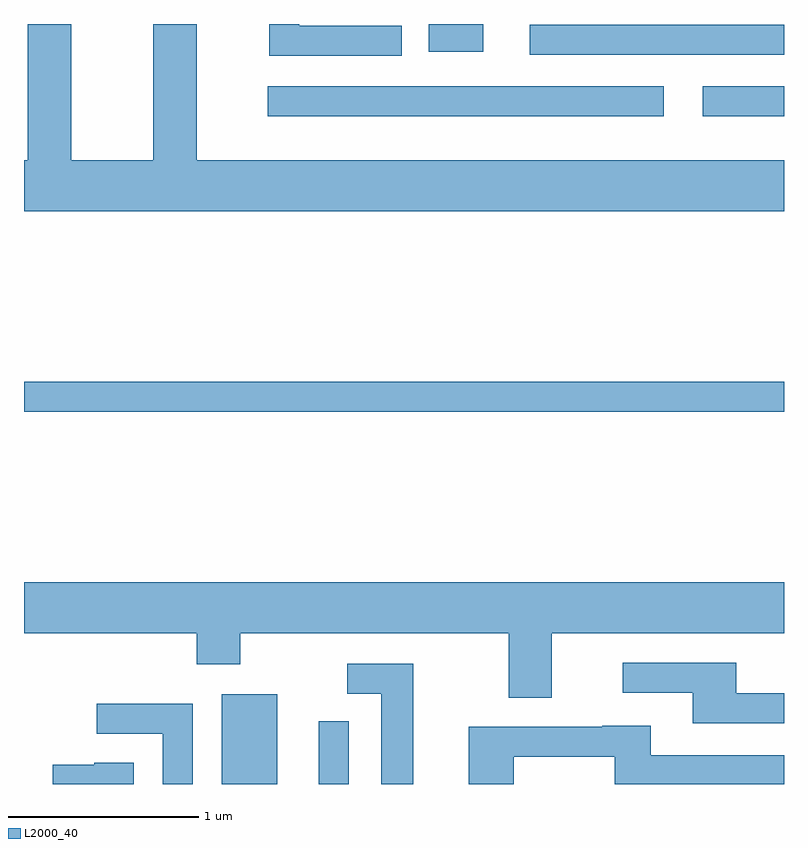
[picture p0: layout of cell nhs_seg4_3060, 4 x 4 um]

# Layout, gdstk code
import gdstk
lib = gdstk.Library(unit=1e-6, precision=1e-09)
def R(c, l, rs):  # rectangles x0, y0, x1, y1
    for r in rs: c.add(gdstk.rectangle(r[:2], r[2:], *l))
def P(c, l, *ps):  # polygons
    for p in ps: c.add(gdstk.Polygon(p, *l))
L2000_40 = (2000, 40)

nhs_seg4_3060 = lib.new_cell('nhs_seg4_3060')
R(nhs_seg4_3060, L2000_40, [(276.651,1253.982,276.944,1254.454), (277.161,1253.982,277.319,1254.313), (275.611,1255.941,279.611,1256.099), (276.893,1257.496,278.978,1257.654), (279.183,1257.496,279.611,1257.654), (278.273,1257.821,279.611,1257.979), (277.741,1257.836,278.029,1257.982)])
P(nhs_seg4_3060, L2000_40, [(279.611,1257.264),(276.519,1257.264),(276.519,1257.982),(276.291,1257.982),(276.291,1257.264),(275.859,1257.264),(275.859,1257.982),(275.631,1257.982),(275.631,1257.264),(275.611,1257.264),(275.611,1256.996),(279.611,1256.996)],
  [(277.598,1257.974),(277.059,1257.974),(277.059,1257.982),(276.901,1257.982),(276.901,1257.816),(277.598,1257.816)],
  [(278.389,1254.776),(279.611,1254.776),(279.611,1255.044),(275.611,1255.044),(275.611,1254.776),(276.521,1254.776),(276.521,1254.611),(276.749,1254.611),(276.749,1254.776),(278.161,1254.776),(278.161,1254.436),(278.389,1254.436)],
  [(279.611,1254.459),(279.359,1254.459),(279.359,1254.619),(278.763,1254.619),(278.763,1254.461),(279.131,1254.461),(279.131,1254.301),(279.611,1254.301)],
  [(277.659,1254.614),(277.313,1254.614),(277.313,1254.456),(277.491,1254.456),(277.491,1253.982),(277.659,1253.982)],
  [(276.499,1254.404),(275.993,1254.404),(275.993,1254.246),(276.341,1254.246),(276.341,1253.982),(276.499,1253.982)],
  [(278.189,1254.126),(278.721,1254.126),(278.721,1253.982),(279.611,1253.982),(279.611,1254.134),(278.909,1254.134),(278.909,1254.289),(278.655,1254.289),(278.655,1254.284),(277.951,1254.284),(277.951,1253.982),(278.189,1253.982)],
  [(276.189,1254.094),(275.98,1254.094),(275.98,1254.084),(275.761,1254.084),(275.761,1253.982),(276.189,1253.982)])

lib.write_gds('nhs_seg4_3060.gds')
